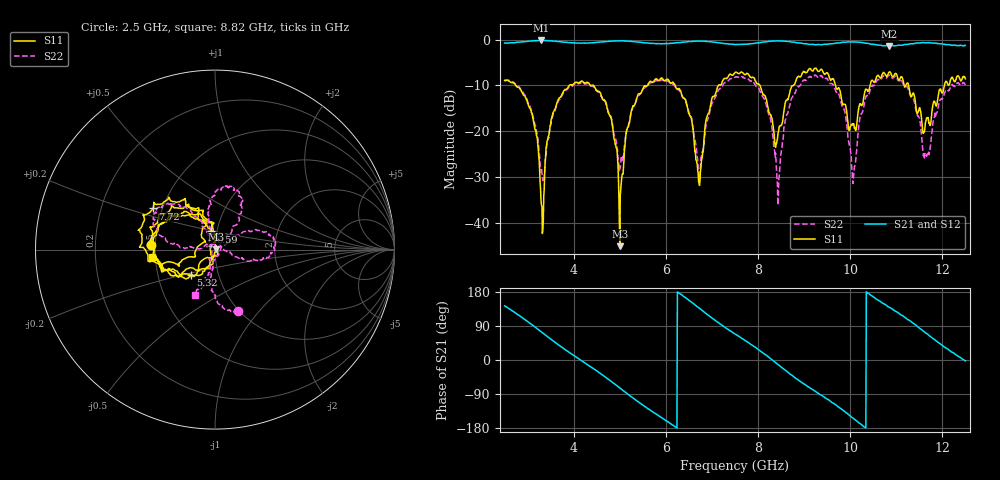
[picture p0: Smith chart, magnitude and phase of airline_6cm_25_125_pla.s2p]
!Keysight Technologies N9950B: A.12.38
!Date: Friday, 14 April 2023 14:11:13
!Timezone: (UTC-06:00) Central Time (US & Canada)
!Model: N9950B
!Serial: MY61131330
!GPS Latitude:
!GPS Longitude:
!GPS TimeStamp: 0001-01-01 00:00:00Z
!GPS Seconds Since Last Read: 0
!CHECKSUM:0648611289
!Correction: S11(ON U)S21(ON U)S12(ON U)S22(ON U)
!S2P File: Measurements:S11,S21,S12,S22:
# Hz S DB R 50
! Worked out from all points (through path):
!   1001 points, 2.5 GHz to 12.5 GHz, reference 50 ohm
!   highest |S21| = -0.17 dB at 3.29 GHz (marker M1); lowest = -1.4 dB at 10.85 GHz (marker M2)
!   group delay of S21, straight-line fit = 241 ps
!   lowest |S11| = -45.1 dB at 5 GHz (marker M3), VSWR 1.01, Z = 50.5 + j0.118 ohm
!   |S11| at or under -10 dB: 2.743 GHz to 3.9 GHz (1.157 GHz wide, 34.8 % of centre); 4.427 GHz to 5.599 GHz (1.172 GHz wide, 23.4 % of centre); 6.201 GHz to 7.143 GHz (942.7 MHz wide, 14.1 % of centre)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
!   |S22| runs from -36.1 to -7.7 dB; largest |S21 - S12| = 0.01
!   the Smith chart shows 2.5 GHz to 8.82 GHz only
!   S11 on the Smith chart (normalised r, x): 2.5 GHz: 0.47, +0.03; 5.32 GHz: 0.74, -0.21; 6.59 GHz: 0.94, +0.19; 7.72 GHz: 0.44, +0.25; 8.82 GHz: 0.48, -0.04
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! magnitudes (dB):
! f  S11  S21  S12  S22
! 2.5 GHz  -8.9  -0.7  -0.7  -8.8
! 3.07 GHz  -15.3  -0.3  -0.3  -15.0
! 3.29 GHz  -35.1  -0.2  -0.2  -28.9
! 3.56 GHz  -15.8  -0.3  -0.3  -16.1
! 4.17 GHz  -9.1  -0.8  -0.7  -9.4
! 4.71 GHz  -14.2  -0.4  -0.4  -14.4
! 5 GHz  -45.1  -0.3  -0.3  -28.2
! 5.32 GHz  -14.2  -0.4  -0.5  -14.3
! 5.84 GHz  -9.0  -0.9  -0.9  -9.1
! 6.59 GHz  -19.7  -0.4  -0.4  -19.4
! 6.74 GHz  -30.8  -0.3  -0.3  -28.3
! 7.5 GHz  -7.2  -1.0  -1.0  -8.2
! 7.72 GHz  -7.6  -1.0  -1.0  -8.4
! 8.44 GHz  -20.1  -0.3  -0.2  -35.2
! 8.82 GHz  -9.1  -0.6  -0.6  -11.2
! 9.17 GHz  -6.8  -1.0  -1.0  -8.3
! 9.75 GHz  -10.5  -0.7  -0.7  -11.9
! 10.08 GHz  -18.4  -0.5  -0.5  -29.2
! 10.84 GHz  -7.1  -1.4  -1.4  -7.8
! 10.85 GHz  -7.1  -1.4  -1.4  -7.8
! 11.64 GHz  -17.8  -0.7  -0.6  -25.5
! 12.5 GHz  -8.6  -1.3  -1.3  -9.9
